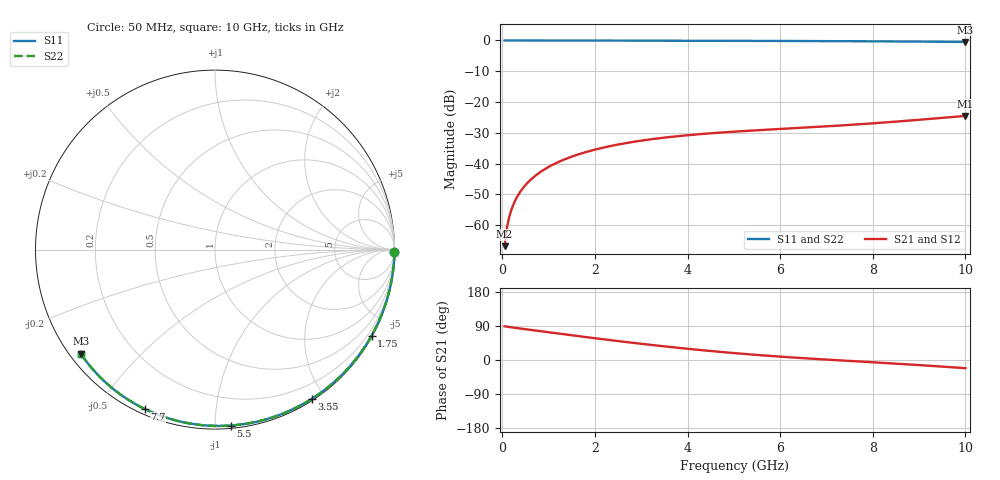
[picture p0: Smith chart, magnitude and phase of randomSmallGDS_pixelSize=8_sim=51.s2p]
! freq	dB(S11)	phase(S11)	dB(S12)	phase(S12)
!  dB(S21)	phase(S21)	dB(S22)	phase(S22)
!S-par simulation data
#  GHz  S  DB  R 50
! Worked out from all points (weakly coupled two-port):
!   200 points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, 50 MHz to 10 GHz, reference 50 ohm
!   highest |S21| = -24.50 dB at 10 GHz (marker M1); lowest = -66.8 dB at 50 MHz (marker M2)
!   lowest |S11| = -0.5 dB at 10 GHz (marker M3), VSWR 36.39, Z = 1.53 - j17.1 ohm
!   |S11| at or under -10 dB: nowhere
!   |S22| runs from -0.5 to 0.0 dB; largest |S21 - S12| = 0
!   S11 on the Smith chart (normalised r, x): 50 MHz: open; 1.75 GHz: 0.03, -3.90; 3.55 GHz: 0.02, -1.85; 5.5 GHz: 0.02, -1.09; 7.7 GHz: 0.02, -0.65; 10 GHz: 0.03, -0.34
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0.05  -0.00 -0.8  -66.82 89.0  -66.82 89.0  -0.00 -0.8
0.1  -0.00 -1.7  -60.81 88.0  -60.81 88.0  -0.00 -1.7
0.15  -0.00 -2.5  -57.31 87.1  -57.31 87.1  -0.00 -2.5
0.2  -0.00 -3.4  -54.83 86.2  -54.83 86.2  -0.00 -3.4
0.25  -0.00 -4.2  -52.92 85.3  -52.92 85.3  -0.00 -4.2
0.35  -0.00 -5.9  -50.03 83.7  -50.03 83.7  -0.00 -5.9
0.5  -0.01 -8.4  -46.97 81.2  -46.97 81.2  -0.01 -8.4
0.7  -0.01 -11.7  -44.10 78.0  -44.10 78.0  -0.01 -11.7
1  -0.02 -16.6  -41.08 73.2  -41.08 73.2  -0.02 -16.6
1.35  -0.03 -22.3  -38.59 67.6  -38.59 67.6  -0.03 -22.3
1.75  -0.04 -28.8  -36.50 61.3  -36.50 61.3  -0.04 -28.8
2.5  -0.05 -40.7  -33.80 49.9  -33.80 49.9  -0.05 -40.7
3.4  -0.07 -54.6  -31.74 37.3  -31.74 37.3  -0.07 -54.6
3.55  -0.08 -56.9  -31.48 35.3  -31.48 35.3  -0.08 -56.9
4.3  -0.10 -68.0  -30.39 26.0  -30.39 26.0  -0.10 -68.0
5.05  -0.12 -78.7  -29.58 17.8  -29.58 17.8  -0.12 -78.7
5.5  -0.14 -84.9  -29.17 13.4  -29.17 13.4  -0.14 -84.9
6.7  -0.20 -101.0  -28.17 3.3  -28.17 3.3  -0.20 -101.0
7.7  -0.26 -113.8  -27.24 -3.9  -27.24 -3.9  -0.26 -113.8
8.35  -0.31 -121.9  -26.54 -8.5  -26.54 -8.5  -0.31 -121.9
9.2  -0.39 -132.4  -25.52 -15.0  -25.52 -15.0  -0.39 -132.4
10  -0.48 -142.2  -24.50 -21.7  -24.50 -21.7  -0.48 -142.2
